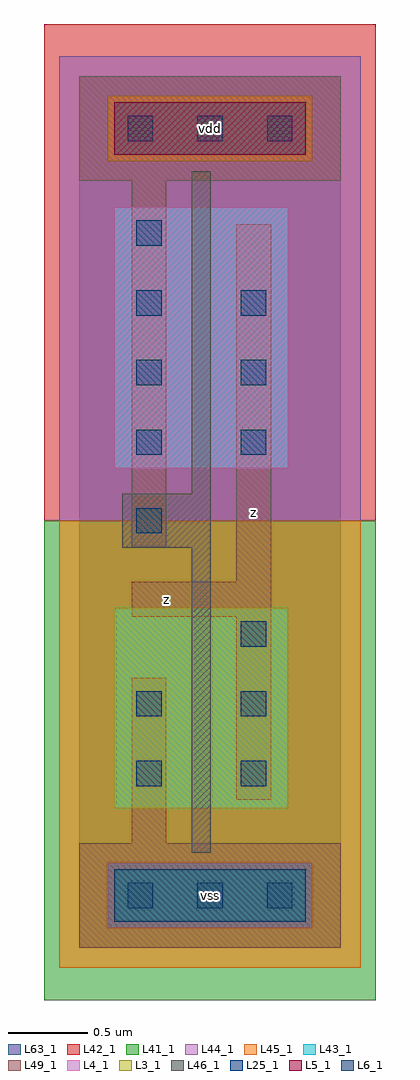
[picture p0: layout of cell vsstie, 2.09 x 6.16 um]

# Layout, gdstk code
import gdstk
lib = gdstk.Library(unit=1e-6, precision=1e-09)
def R(c, l, rs):  # rectangles x0, y0, x1, y1
    for r in rs: c.add(gdstk.rectangle(r[:2], r[2:], *l))
def A(c, l, x, y, w, h, nx, ny, dx, dy):  # array of equal rectangles
    R(c, l, [(x+i*dx, y+j*dy, x+i*dx+w, y+j*dy+h) for i in range(nx) for j in range(ny)])
L3_1 = (3, 1)
L4_1 = (4, 1)
L5_1 = (5, 1)
L6_1 = (6, 1)
L25_1 = (25, 1)
L41_1 = (41, 1)
L42_1 = (42, 1)
L43_1 = (43, 1)
L44_1 = (44, 1)
L45_1 = (45, 1)
L46_1 = (46, 1)
L49_1 = (49, 1)
L63_1 = (63, 1)

vsstie = lib.new_cell('vsstie')
R(vsstie, L3_1, [(0.22,0.88,1.32,2.145)])
R(vsstie, L4_1, [(0.22,3.025,1.32,4.675)])
R(vsstie, L5_1, [(0.22,5.005,1.43,5.335)])
R(vsstie, L6_1, [(0.22,0.165,1.43,0.495)])
A(vsstie, L25_1, 0.305, 0.25, 0.16, 0.16, 3, 2, 0.44, 4.84)
A(vsstie, L25_1, 1.02, 1.02, 0.16, 0.16, 1, 3, 0, 0.44)
A(vsstie, L25_1, 0.36, 3.11, 0.16, 0.16, 1, 4, 0, 0.44)
A(vsstie, L25_1, 1.02, 3.11, 0.16, 0.16, 1, 3, 0, 0.44)
R(vsstie, L25_1, [(0.36,1.02,0.52,1.18), (0.36,1.46,0.52,1.62), (0.36,2.615,0.52,2.775)])
R(vsstie, L41_1, [(-0.22,-0.33,1.87,2.695)])
R(vsstie, L42_1, [(-0.22,2.695,1.87,5.83)])
R(vsstie, L43_1, [(0.22,0.165,1.43,0.495), (0.22,0.88,1.32,2.145), (0.22,3.025,1.32,4.675), (0.22,5.005,1.43,5.335)])
R(vsstie, L44_1, [(0.18,0.125,1.47,0.535), (-0.125,2.695,1.775,4.965), (-0.125,4.965,0.18,5.375), (1.47,4.965,1.775,5.375), (-0.125,5.375,1.775,5.625)])
R(vsstie, L45_1, [(-0.125,-0.125,1.775,0.125), (-0.125,0.125,0.18,0.535), (1.47,0.125,1.775,0.535), (-0.125,0.535,1.775,2.695), (0.18,4.965,1.47,5.375)])
R(vsstie, L46_1, [(0.71,0.6,0.83,2.525), (0.27,2.525,0.83,2.865), (0.71,2.865,0.83,4.9)])
R(vsstie, L49_1, [(0,0,1.65,0.66), (0.33,0.66,0.55,1.705), (0.99,0.935,1.21,2.09), (0.33,2.09,1.21,2.31), (0.99,2.31,1.21,4.565), (0.33,2.53,0.55,4.84), (0,4.84,1.65,5.5)])
R(vsstie, L63_1, [(0,0,1.65,5.5)])
vsstie.add(gdstk.Label('z', (0.55,2.2), layer=49, texttype=1))
vsstie.add(gdstk.Label('z', (0.55,2.2), layer=49, texttype=1))
vsstie.add(gdstk.Label('vss', (0.825,0.33), layer=49, texttype=1))
vsstie.add(gdstk.Label('vss', (0.825,0.33), layer=49, texttype=1))
vsstie.add(gdstk.Label('z', (1.1,2.75), layer=49, texttype=1))
vsstie.add(gdstk.Label('z', (1.1,2.75), layer=49, texttype=1))
vsstie.add(gdstk.Label('vdd', (0.825,5.17), layer=49, texttype=1))
vsstie.add(gdstk.Label('vdd', (0.825,5.17), layer=49, texttype=1))

lib.write_gds('vsstie.gds')
